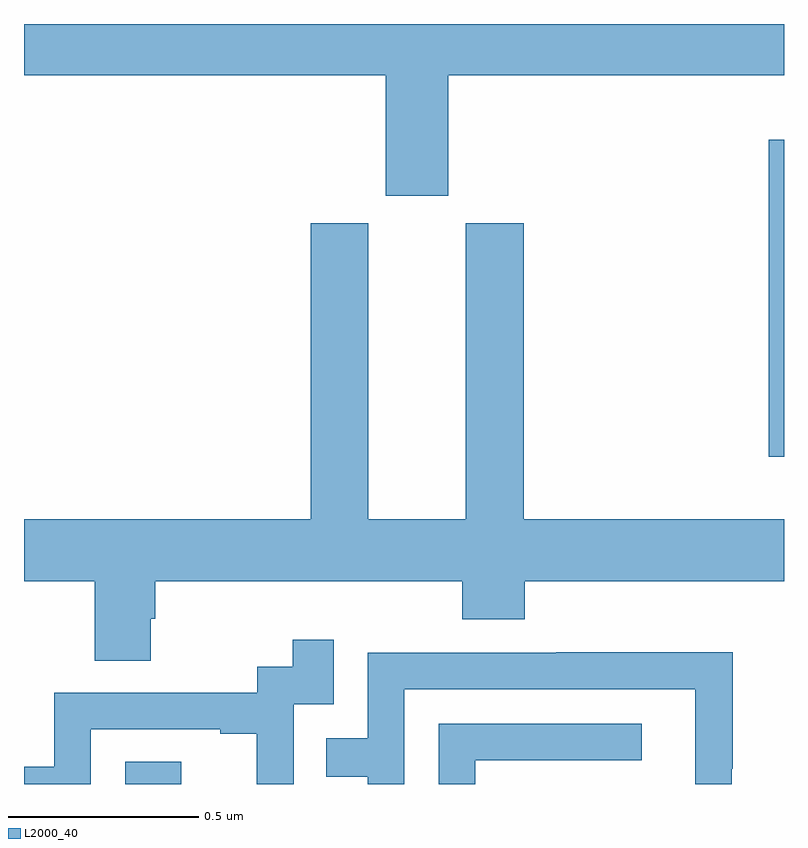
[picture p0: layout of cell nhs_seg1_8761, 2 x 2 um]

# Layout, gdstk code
import gdstk
lib = gdstk.Library(unit=1e-6, precision=1e-09)
def R(c, l, rs):  # rectangles x0, y0, x1, y1
    for r in rs: c.add(gdstk.rectangle(r[:2], r[2:], *l))
def P(c, l, *ps):  # polygons
    for p in ps: c.add(gdstk.Polygon(p, *l))
L2000_40 = (2000, 40)

nhs_seg1_8761 = lib.new_cell('nhs_seg1_8761')
R(nhs_seg1_8761, L2000_40, [(220.266,551.199,220.414,551.257), (221.96,552.06,222,552.895)])
P(nhs_seg1_8761, L2000_40, [(221.116,553.064),(222,553.064),(222,553.199),(220,553.199),(220,553.064),(220.952,553.064),(220.952,552.747),(221.116,552.747)],
  [(220.333,551.634),(220.346,551.634),(220.346,551.732),(221.153,551.732),(221.153,551.633),(221.318,551.633),(221.318,551.732),(222,551.732),(222,551.896),(221.315,551.896),(221.315,552.675),(221.162,552.675),(221.162,551.896),(220.906,551.896),(220.906,552.675),(220.754,552.675),(220.754,551.896),(220,551.896),(220,551.732),(220.186,551.732),(220.186,551.524),(220.333,551.524)],
  [(220.176,551.343),(220.517,551.343),(220.517,551.331),(220.613,551.331),(220.613,551.199),(220.71,551.199),(220.71,551.409),(220.815,551.409),(220.815,551.578),(220.707,551.578),(220.707,551.508),(220.614,551.508),(220.614,551.439),(220.08,551.439),(220.08,551.244),(220,551.244),(220,551.199),(220.176,551.199)],
  [(221.001,551.448),(221.766,551.448),(221.766,551.199),(221.862,551.199),(221.862,551.239),(221.865,551.239),(221.865,551.546),(221.401,551.546),(221.401,551.544),(220.905,551.544),(220.905,551.319),(220.795,551.319),(220.795,551.218),(220.905,551.218),(220.905,551.199),(221.001,551.199)],
  [(221.187,551.262),(221.626,551.262),(221.626,551.358),(221.091,551.358),(221.091,551.199),(221.187,551.199)])

lib.write_gds('nhs_seg1_8761.gds')
